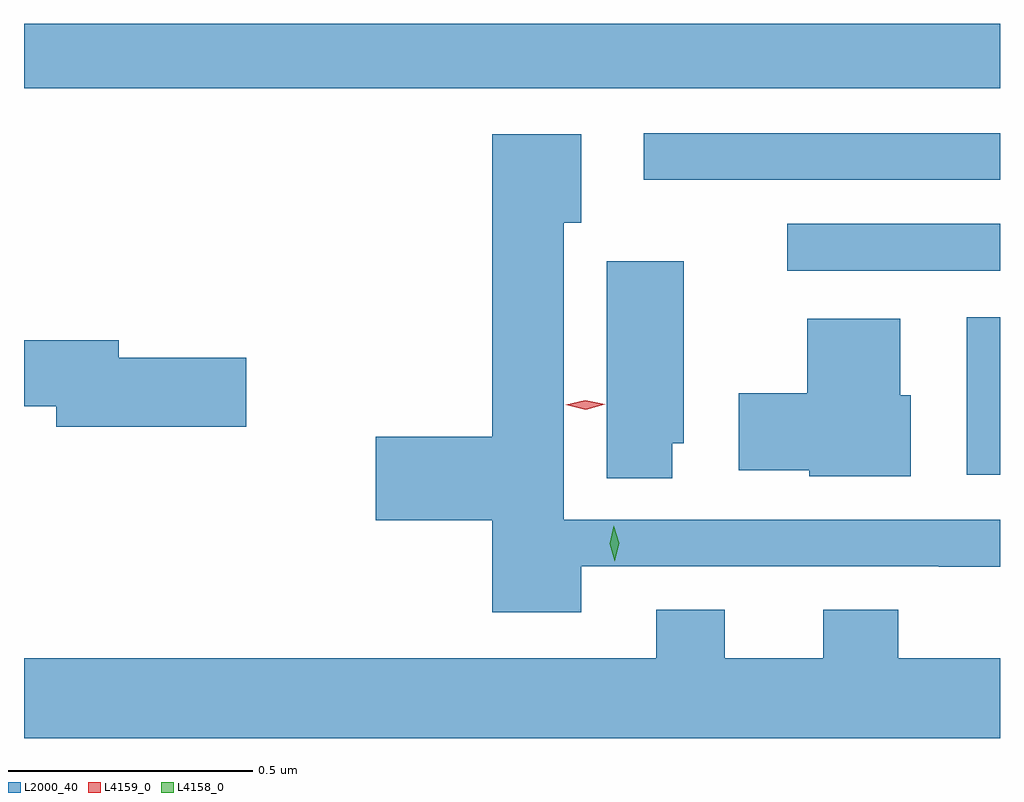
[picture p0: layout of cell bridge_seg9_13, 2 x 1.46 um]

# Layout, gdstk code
import gdstk
lib = gdstk.Library(unit=1e-6, precision=1e-09)
def R(c, l, rs):  # rectangles x0, y0, x1, y1
    for r in rs: c.add(gdstk.rectangle(r[:2], r[2:], *l))
def P(c, l, *ps):  # polygons
    for p in ps: c.add(gdstk.Polygon(p, *l))
L2000_40 = (2000, 40)
L4158_0 = (4158, 0)
L4159_0 = (4159, 0)

bridge_seg9_13 = lib.new_cell('bridge_seg9_13')
R(bridge_seg9_13, L2000_40, [(989.72,1247.576,989.788,1247.899), (989.352,1247.994,989.788,1248.09), (989.058,1248.18,989.788,1248.276), (987.788,1248.368,989.788,1248.5)])
P(bridge_seg9_13, L2000_40, [(988.93,1247.388),(989.662,1247.388),(989.662,1247.387),(989.788,1247.387),(989.788,1247.484),(988.894,1247.484),(988.894,1248.092),(988.93,1248.092),(988.93,1248.274),(988.748,1248.274),(988.748,1247.654),(988.509,1247.654),(988.509,1247.483),(988.748,1247.483),(988.748,1247.294),(988.93,1247.294)],
  [(989.116,1247.64),(989.14,1247.64),(989.14,1248.013),(988.982,1248.013),(988.982,1247.569),(989.116,1247.569)],
  [(989.605,1247.739),(989.584,1247.739),(989.584,1247.896),(989.393,1247.896),(989.393,1247.743),(989.253,1247.743),(989.253,1247.585),(989.397,1247.585),(989.397,1247.573),(989.605,1247.573)],
  [(988.243,1247.816),(987.982,1247.816),(987.982,1247.852),(987.788,1247.852),(987.788,1247.716),(987.854,1247.716),(987.854,1247.674),(988.243,1247.674)],
  [(989.788,1247.2),(989.579,1247.2),(989.579,1247.299),(989.426,1247.299),(989.426,1247.2),(989.224,1247.2),(989.224,1247.299),(989.084,1247.299),(989.084,1247.2),(987.788,1247.2),(987.788,1247.036),(989.788,1247.036)])
P(bridge_seg9_13, L4158_0, [(988.999,1247.399),(988.999,1247.399),(988.988,1247.435),(988.996,1247.471),(988.997,1247.471),(988.997,1247.471),(989.008,1247.436),(988.999,1247.399)])
P(bridge_seg9_13, L4159_0, [(988.939,1247.709),(988.898,1247.719),(988.898,1247.719),(988.898,1247.719),(988.938,1247.729),(988.979,1247.72),(988.979,1247.72),(988.979,1247.72)])

lib.write_gds('bridge_seg9_13.gds')
